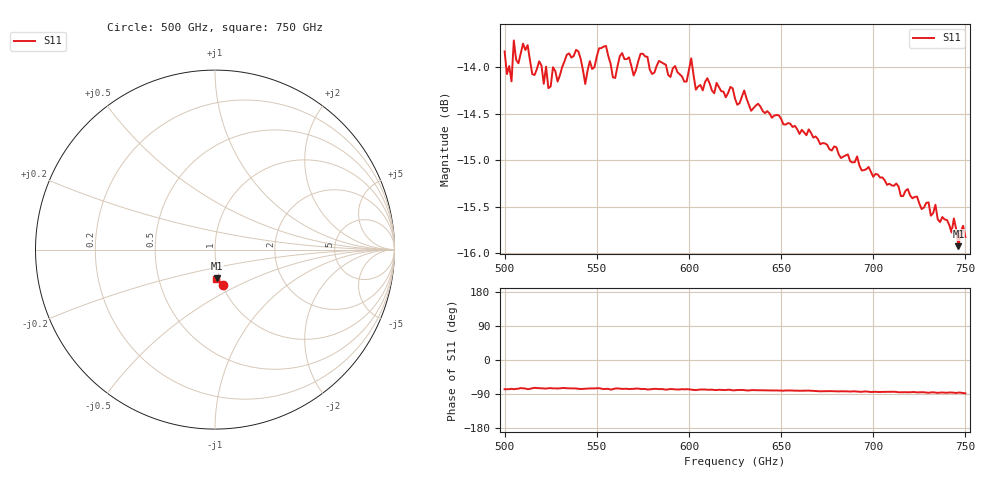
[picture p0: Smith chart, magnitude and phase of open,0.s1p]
!Created with mwavepy.
# GHz S RI R 50.0
!freq	ReS11	ImS11
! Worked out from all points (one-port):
!   201 points, 500 GHz to 750 GHz, reference 50 ohm
!   lowest |S11| = -15.9 dB at 746.2 GHz (marker M1), VSWR 1.38, Z = 48.6 - j15.9 ohm
!   |S11| at or under -10 dB: start of sweep to end of sweep
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500  0.0454 -0.1983
! Port Impedance 50.00000000000000 0.00000000000000
503.75  0.0474 -0.1902
505  0.046 -0.201
507.5  0.0499 -0.1942
510  0.0538 -0.1983
515  0.0529 -0.1906
518.75  0.0542 -0.1935
521.25  0.0511 -0.1887
522.5  0.0501 -0.1933
523.75  0.052 -0.1873
531.25  0.0553 -0.1918
540  0.0494 -0.1974
543.75  0.0484 -0.1893
551.25  0.0547 -0.1968
555  0.0487 -0.199
558.75  0.0446 -0.1919
562.5  0.0507 -0.1958
593.75  0.0419 -0.1938
598.75  0.0441 -0.191
601.25  0.0413 -0.1975
603.75  0.0357 -0.1907
625  0.0336 -0.189
656.25  0.0303 -0.1828
687.5  0.0206 -0.1764
718.75  0.0142 -0.171
743.75  0.0108 -0.1651
746.25  0.0114 -0.1595
750  0.00555 -0.1616
